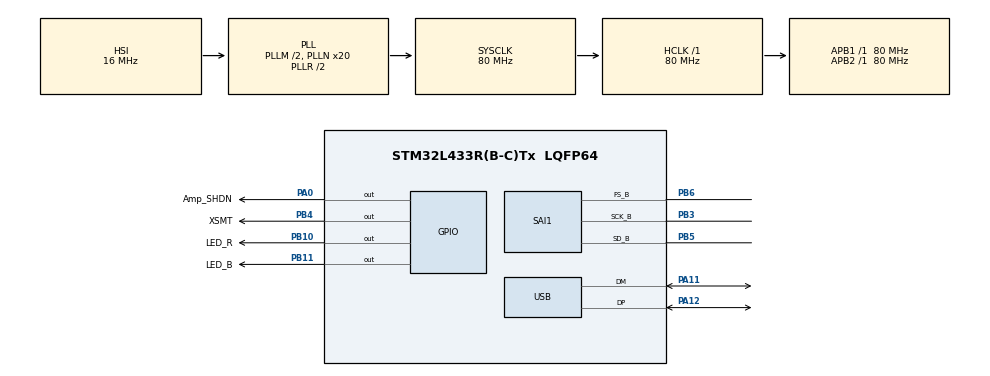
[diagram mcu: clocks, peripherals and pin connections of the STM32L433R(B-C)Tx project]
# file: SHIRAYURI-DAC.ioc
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Dma.Request0=SAI1_B
Dma.SAI1_B.0.Direction=DMA_MEMORY_TO_PERIPH
Dma.SAI1_B.0.Instance=DMA2_Channel2
Dma.SAI1_B.0.MemDataAlignment=DMA_MDATAALIGN_HALFWORD
Dma.SAI1_B.0.MemInc=DMA_MINC_ENABLE
Dma.SAI1_B.0.Mode=DMA_CIRCULAR
Dma.SAI1_B.0.PeriphDataAlignment=DMA_PDATAALIGN_HALFWORD
Dma.SAI1_B.0.PeriphInc=DMA_PINC_DISABLE
Dma.SAI1_B.0.Priority=DMA_PRIORITY_LOW
Mcu.Family=STM32L4
Mcu.Name=STM32L433R(B-C)Tx
Mcu.Package=LQFP64
NVIC.DMA2_Channel2_IRQn=true\:1\:0\:true\:false\:true\:false\:true\:true
NVIC.PriorityGroup=NVIC_PRIORITYGROUP_4
NVIC.USB_IRQn=true\:0\:0\:true\:false\:true\:true\:true\:true
PA0.GPIO_Label=Amp_SHDN
PA0.Signal=GPIO_Output
PA11.Mode=Device
PA11.Signal=USB_DM
PA12.Mode=Device
PA12.Signal=USB_DP
PB10.GPIO_Label=LED_R
PB10.Signal=GPIO_Output
PB11.GPIO_Label=LED_B
PB11.Signal=GPIO_Output
PB3\ (JTDO-TRACESWO).GPIO_Speed=GPIO_SPEED_FREQ_VERY_HIGH
PB3\ (JTDO-TRACESWO).Mode=SAI_B_Master
PB3\ (JTDO-TRACESWO).Signal=SAI1_SCK_B
PB4\ (NJTRST).GPIO_Label=XSMT
PB4\ (NJTRST).Signal=GPIO_Output
PB5.GPIO_Speed=GPIO_SPEED_FREQ_VERY_HIGH
PB5.Mode=SAI_B_Master
PB5.Signal=SAI1_SD_B
PB6.GPIO_FM6=SYSCFG_FASTMODEPLUS_PB6
PB6.GPIO_Speed=GPIO_SPEED_FREQ_VERY_HIGH
PB6.Mode=SAI_B_Master
PB6.Signal=SAI1_FS_B
ProjectManager.HeapSize=0x800
ProjectManager.StackSize=0x800
ProjectManager.TargetToolchain=STM32CubeIDE
RCC.ADCFreq_Value=172000000
RCC.AHBFreq_Value=80000000
RCC.APB1Freq_Value=80000000
RCC.APB1TimFreq_Value=80000000
RCC.APB2Freq_Value=80000000
RCC.APB2TimFreq_Value=80000000
RCC.CK48CLockSelection=RCC_USBCLKSOURCE_HSI48
RCC.CortexFreq_Value=80000000
RCC.HCLKFreq_Value=80000000
RCC.HSE_VALUE=8000000
RCC.HSI48_VALUE=48000000
RCC.HSI_VALUE=16000000
RCC.LSE_VALUE=32768
RCC.MSI_VALUE=4000000
RCC.PLLM=2
RCC.PLLN=20
RCC.PLLSAI1N=43
RCC.PLLSourceVirtual=RCC_PLLSOURCE_HSI
RCC.SYSCLKFreq_VALUE=80000000
RCC.SYSCLKSource=RCC_SYSCLKSOURCE_PLLCLK
RCC.USBFreq_Value=48000000
RCC.VCOOutputFreq_Value=160000000
SAI1.ActiveFrameLength-SAI_B_Master=32
SAI1.AudioFrequency-SAI_B_Master=SAI_AUDIO_FREQUENCY_48K
SAI1.DataSize-SAI_B_Master=SAI_DATASIZE_16
SAI1.ErrorAudioFreq-SAI_B_Master=-0.01 %
SAI1.FIFOThreshold-SAI_B_Master=SAI_FIFOTHRESHOLD_HF
SAI1.FSDefinition-SAI_B_Master=SAI_FS_CHANNEL_IDENTIFICATION
SAI1.FSOffset-SAI_B_Master=SAI_FS_BEFOREFIRSTBIT
SAI1.FirstBitOffset-SAI_B_Master=0
SAI1.FrameLength-SAI_B_Master=64
SAI1.Instance-SAI_B_Master=SAI$Index_Block_B
SAI1.MClockEnable-SAI_B_Master=SAI_MASTERCLOCK_DISABLE
SAI1.OutputDrive-SAI_B_Master=SAI_OUTPUTDRIVE_ENABLE
SAI1.RealAudioFreq-SAI_B_Master=47.991 KHz
SAI1.SlotActive-SAI_B_Master=0x00000003
SAI1.SlotNumber-SAI_B_Master=2
SAI1.SlotSize-SAI_B_Master=SAI_SLOTSIZE_32B
SAI1.VirtualMode-SAI_B_Master=VM_MASTER
SAI1.VirtualSlotActive-SAI_B_Master=SAI_SLOT_USERSETTING
SAI1.VirtualSlotActive0-SAI_B_Master=true
SAI1.VirtualSlotActive1-SAI_B_Master=true
USB.Sof_enable=ENABLE
USB_DEVICE.CLASS_NAME_FS=AUDIO
USB_DEVICE.PID_AUDIO_FS=22320
USB_DEVICE.PRODUCT_STRING_AUDIO_FS=SHIRAYURI-DAC
USB_DEVICE.USBD_AUDIO_FREQ=48000
USB_DEVICE.USBD_LPM_ENABLED=0
USB_DEVICE.USBD_SELF_POWERED=0
USB_DEVICE.VirtualMode=Audio
USB_DEVICE.VirtualModeFS=Audio_FS
VP_RCC_USB.Mode=CRS SYNC Source USB
VP_USB_DEVICE_VS_USB_DEVICE_AUDIO_FS.Mode=AUDIO_FS
board=custom

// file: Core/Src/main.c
/* USER CODE BEGIN Header */
/**
  ******************************************************************************
  * @file           : main.c
  * @brief          : Main program body
  ******************************************************************************
  * @attention
  *
  * Copyright (c) 2026 STMicroelectronics.
  * All rights reserved.
  *
  * This software is licensed under terms that can be found in the LICENSE file
  * in the root directory of this software component.
  * If no LICENSE file comes with this software, it is provided AS-IS.
  *
  ******************************************************************************
  */
/* USER CODE END Header */
#include "main.h"
#include "usb_device.h"

/* USER CODE BEGIN Includes */
#include <math.h>
#include <string.h>
#include <arm_math.h>
#include <usbd_audio_if.h>
/* USER CODE END Includes */

SAI_HandleTypeDef hsai_BlockB1;
DMA_HandleTypeDef hdma_sai1_b;

/* USER CODE BEGIN PV */

int32_t audio_buf[AUDIO_SAMPLES];	//DMAに書き込むよう
int16_t ringbuf[RING_SAMPLES];	//リングバッファ
volatile uint32_t write_pos = 0;
volatile uint32_t read_pos = 0;
volatile uint8_t audio_started = 0;
volatile uint32_t audio_underrun_count = 0;
volatile uint32_t audio_overrun_count = 0;
uint8_t is_playing = 0;
uint32_t silence_cnt = 0;

/* USER CODE END PV */

void SystemClock_Config(void);
static void MX_GPIO_Init(void);
static void MX_DMA_Init(void);
static void MX_SAI1_Init(void);

/* USER CODE BEGIN 0 */

#define AUDIO_FADE_STEP_Q15  64U
#define AUDIO_RAMP_DOWN_STEP_Q15 (32768U / (AUDIO_SAMPLES / 4U))

static uint16_t audio_gain_q15 = 0U;
static int32_t last_sample_l = 0;
static int32_t last_sample_r = 0;
static uint32_t preroll_samples = AUDIO_PREROLL_SAMPLES;

void AudioPipeline_Reset(void)
{
  audio_gain_q15 = 0U;
  last_sample_l = 0;
  last_sample_r = 0;
  preroll_samples = AUDIO_PREROLL_SAMPLES;
  audio_started = 0U;
  audio_underrun_count = 0U;
  audio_overrun_count = 0U;
}

uint32_t Audio_GetSaiDmaWordPosition(void)
{
  uint32_t remaining = __HAL_DMA_GET_COUNTER(&hdma_sai1_b);

  if (remaining > AUDIO_SAMPLES)
  {
    return 0U;
  }

  /* AUDIO_SAMPLES is a power of two.  Returning a modulo position lets the
     USB SOF handler measure the SAI rate without relying on HSI tolerance. */
  return (AUDIO_SAMPLES - remaining) & (AUDIO_SAMPLES - 1U);
}

static int32_t ScaleSampleQ15(int32_t sample, uint32_t gain_q15)
{
  return (int32_t)(((int64_t)sample * (int64_t)gain_q15) >> 15);
}

static void FillRampToSilence(int32_t *dst, uint32_t samples)
{
  uint32_t frames = samples / 2U;
  uint32_t gain_q15 = 32767U;

  for (uint32_t i = 0U; i < frames; i++)
  {
    dst[i * 2U] = ScaleSampleQ15(last_sample_l, gain_q15);
    dst[i * 2U + 1U] = ScaleSampleQ15(last_sample_r, gain_q15);
    gain_q15 = (gain_q15 > AUDIO_RAMP_DOWN_STEP_Q15) ?
               (gain_q15 - AUDIO_RAMP_DOWN_STEP_Q15) : 0U;
  }

  last_sample_l = 0;
  last_sample_r = 0;
  audio_gain_q15 = 0U;
  audio_started = 0U;
  preroll_samples = AUDIO_RECOVERY_SAMPLES;
}

void FillFromRing(int32_t *dst, uint32_t samples)
{
  const uint32_t req_48k_samples = samples / 2U;
  const uint32_t wp = write_pos;
  uint32_t rp = read_pos;
  const uint32_t stored = wp - rp;

  /* A corrupted/overrun state is recovered without reading overwritten data. */
  if (stored > RING_SAMPLES)
  {
    read_pos = wp;
    FillRampToSilence(dst, samples);
    return;
  }

  /* Do not start from an almost-empty buffer.  The pre-roll absorbs Android
     scheduler jitter and the USB/SAI clock-domain phase difference. */
  if ((audio_started == 0U) && (stored < preroll_samples))
  {
    memset(dst, 0, samples * sizeof(int32_t));
    return;
  }

  if (stored >= req_48k_samples)
  {
    int16_t temp_48k[AUDIO_SAMPLES / 2U];
    const uint8_t starting = (audio_started == 0U);

    for (uint32_t i = 0U; i < req_48k_samples; i++)
    {
      temp_48k[i] = ringbuf[rp & (RING_SAMPLES - 1U)];
      rp++;
    }

    /* Publish the consumer position only after the complete stereo block has
       been copied.  This prevents USB from overwriting a half-read frame. */
    __DMB();
    read_pos = rp;

    DSP_Process_Upsample(temp_48k, dst);

    if (starting != 0U)
    {
      audio_started = 1U;
      audio_gain_q15 = 0U;
      preroll_samples = AUDIO_PREROLL_SAMPLES;
      if (usb_audio_muted == 0U)
      {
        HAL_GPIO_WritePin(XSMT_GPIO_Port, XSMT_Pin, GPIO_PIN_SET);
      }
    }

    /* Short de-zipper fade after start/recovery. */
    if (audio_gain_q15 < 32767U)
    {
      for (uint32_t i = 0U; i < samples; i += 2U)
      {
        uint32_t next_gain = audio_gain_q15 + AUDIO_FADE_STEP_Q15;
        audio_gain_q15 = (uint16_t)((next_gain > 32767U) ? 32767U : next_gain);
        dst[i] = ScaleSampleQ15(dst[i], audio_gain_q15);
        dst[i + 1U] = ScaleSampleQ15(dst[i + 1U], audio_gain_q15);
      }
    }

    last_sample_l = dst[samples - 2U];
    last_sample_r = dst[samples - 1U];
  }
  else
  {
    /* A hard transition to zero is audible as a click.  Conceal an underrun
       with a one-DMA-half ramp, then wait for a fresh pre-roll. */
    audio_underrun_count++;
    FillRampToSilence(dst, samples);
  }
}

void HAL_SAI_TxHalfCpltCallback(SAI_HandleTypeDef *hsai)
{
  UNUSED(hsai);
  FillFromRing(&audio_buf[0], AUDIO_SAMPLES / 2U);
}

void HAL_SAI_TxCpltCallback(SAI_HandleTypeDef *hsai)
{
  UNUSED(hsai);
  FillFromRing(&audio_buf[AUDIO_SAMPLES / 2U], AUDIO_SAMPLES / 2U);
}
/* USER CODE END 0 */

int main(void)
{

  /* MCU Configuration--------------------------------------------------------*/

  /* Reset of all peripherals, Initializes the Flash interface and the Systick. */
  HAL_Init();

  /* Configure the system clock */
  SystemClock_Config();

  /* Initialize all configured peripherals */
  MX_GPIO_Init();
  MX_DMA_Init();
  MX_SAI1_Init();
  /* USER CODE BEGIN 2 */
  extern arm_fir_interpolate_instance_f32 S_Left;
  extern arm_fir_interpolate_instance_f32 S_Right;
  extern const float32_t fir_coeffs[];
  extern float32_t fir_state_L[];
  extern float32_t fir_state_R[];

  arm_fir_interpolate_init_f32(&S_Left, 2, 64, (float32_t*)fir_coeffs, fir_state_L, 64);
  arm_fir_interpolate_init_f32(&S_Right, 2, 64, (float32_t*)fir_coeffs, fir_state_R, 64);

  //バッファをクリア
  memset(audio_buf, 0, sizeof(audio_buf));
  memset(ringbuf, 0, sizeof(ringbuf));

  //DMAスタート
  if (HAL_SAI_Transmit_DMA(&hsai_BlockB1, (uint8_t*)audio_buf,
                           AUDIO_SAMPLES) != HAL_OK)
  {
    Error_Handler();
  }

  /* Keep the analog path muted until USB has provided a complete pre-roll.
     FillFromRing() enables it immediately before the click-free fade-in. */
  HAL_GPIO_WritePin(XSMT_GPIO_Port, XSMT_Pin, GPIO_PIN_RESET);
  HAL_GPIO_WritePin(Amp_SHDN_GPIO_Port, Amp_SHDN_Pin, GPIO_PIN_RESET);

  /* Expose USB only after SAI, DMA, FIR state and buffers are ready. */
  MX_USB_DEVICE_Init();
  /* USER CODE END 2 */

  /* Infinite loop */
  while (1)
  {

    /* USER CODE BEGIN 3 */
    __WFI();
  }
  /* USER CODE END 3 */
}

void SystemClock_Config(void)
{
  RCC_OscInitTypeDef RCC_OscInitStruct = {0};
  RCC_ClkInitTypeDef RCC_ClkInitStruct = {0};
  RCC_CRSInitTypeDef RCC_CRSInitStruct = {0};

  /** Configure the main internal regulator output voltage
  */
  if (HAL_PWREx_ControlVoltageScaling(PWR_REGULATOR_VOLTAGE_SCALE1) != HAL_OK)
  {
    Error_Handler();
  }

  /** Initializes the RCC Oscillators according to the specified parameters
  * in the RCC_OscInitTypeDef structure.
  */
  RCC_OscInitStruct.OscillatorType = RCC_OSCILLATORTYPE_HSI48|RCC_OSCILLATORTYPE_HSI;
  RCC_OscInitStruct.HSIState = RCC_HSI_ON;
  RCC_OscInitStruct.HSI48State = RCC_HSI48_ON;
  RCC_OscInitStruct.HSICalibrationValue = RCC_HSICALIBRATION_DEFAULT;
  RCC_OscInitStruct.PLL.PLLState = RCC_PLL_ON;
  RCC_OscInitStruct.PLL.PLLSource = RCC_PLLSOURCE_HSI;
  RCC_OscInitStruct.PLL.PLLM = 2;
  RCC_OscInitStruct.PLL.PLLN = 20;
  RCC_OscInitStruct.PLL.PLLP = RCC_PLLP_DIV7;
  RCC_OscInitStruct.PLL.PLLQ = RCC_PLLQ_DIV2;
  RCC_OscInitStruct.PLL.PLLR = RCC_PLLR_DIV2;
  if (HAL_RCC_OscConfig(&RCC_OscInitStruct) != HAL_OK)
  {
    Error_Handler();
  }

  /** Initializes the CPU, AHB and APB buses clocks
  */
  RCC_ClkInitStruct.ClockType = RCC_CLOCKTYPE_HCLK|RCC_CLOCKTYPE_SYSCLK
                              |RCC_CLOCKTYPE_PCLK1|RCC_CLOCKTYPE_PCLK2;
  RCC_ClkInitStruct.SYSCLKSource = RCC_SYSCLKSOURCE_PLLCLK;
  RCC_ClkInitStruct.AHBCLKDivider = RCC_SYSCLK_DIV1;
  RCC_ClkInitStruct.APB1CLKDivider = RCC_HCLK_DIV1;
  RCC_ClkInitStruct.APB2CLKDivider = RCC_HCLK_DIV1;

  if (HAL_RCC_ClockConfig(&RCC_ClkInitStruct, FLASH_LATENCY_4) != HAL_OK)
  {
    Error_Handler();
  }

  /** Enable the SYSCFG APB clock
  */
  __HAL_RCC_CRS_CLK_ENABLE();

  /** Configures CRS
  */
  RCC_CRSInitStruct.Prescaler = RCC_CRS_SYNC_DIV1;
  RCC_CRSInitStruct.Source = RCC_CRS_SYNC_SOURCE_USB;
  RCC_CRSInitStruct.Polarity = RCC_CRS_SYNC_POLARITY_RISING;
  RCC_CRSInitStruct.ReloadValue = __HAL_RCC_CRS_RELOADVALUE_CALCULATE(48000000,1000);
  RCC_CRSInitStruct.ErrorLimitValue = 34;
  RCC_CRSInitStruct.HSI48CalibrationValue = 32;

  HAL_RCCEx_CRSConfig(&RCC_CRSInitStruct);
}

static void MX_SAI1_Init(void)
{

  hsai_BlockB1.Instance = SAI1_Block_B;
  hsai_BlockB1.Init.Protocol = SAI_FREE_PROTOCOL;
  hsai_BlockB1.Init.AudioMode = SAI_MODEMASTER_TX;
  hsai_BlockB1.Init.DataSize = SAI_DATASIZE_32;
  hsai_BlockB1.Init.FirstBit = SAI_FIRSTBIT_MSB;
  hsai_BlockB1.Init.ClockStrobing = SAI_CLOCKSTROBING_FALLINGEDGE;
  hsai_BlockB1.Init.Synchro = SAI_ASYNCHRONOUS;
  hsai_BlockB1.Init.OutputDrive = SAI_OUTPUTDRIVE_ENABLE;
  hsai_BlockB1.Init.NoDivider = SAI_MASTERDIVIDER_ENABLE;
  hsai_BlockB1.Init.FIFOThreshold = SAI_FIFOTHRESHOLD_HF;
  hsai_BlockB1.Init.AudioFrequency = SAI_AUDIO_FREQUENCY_96K;
  hsai_BlockB1.Init.SynchroExt = SAI_SYNCEXT_DISABLE;
  hsai_BlockB1.Init.MonoStereoMode = SAI_STEREOMODE;
  hsai_BlockB1.Init.CompandingMode = SAI_NOCOMPANDING;
  hsai_BlockB1.Init.TriState = SAI_OUTPUT_NOTRELEASED;
  hsai_BlockB1.FrameInit.FrameLength = 64;
  hsai_BlockB1.FrameInit.ActiveFrameLength = 32;
  hsai_BlockB1.FrameInit.FSDefinition = SAI_FS_CHANNEL_IDENTIFICATION;
  hsai_BlockB1.FrameInit.FSPolarity = SAI_FS_ACTIVE_LOW;
  hsai_BlockB1.FrameInit.FSOffset = SAI_FS_BEFOREFIRSTBIT;
  hsai_BlockB1.SlotInit.FirstBitOffset = 0;
  hsai_BlockB1.SlotInit.SlotSize = SAI_SLOTSIZE_32B;
  hsai_BlockB1.SlotInit.SlotNumber = 2;
  hsai_BlockB1.SlotInit.SlotActive = 0x00000003;
  if (HAL_SAI_Init(&hsai_BlockB1) != HAL_OK)
  {
    Error_Handler();
  }

}

static void MX_DMA_Init(void)
{

  /* DMA controller clock enable */
  __HAL_RCC_DMA2_CLK_ENABLE();

  /* DMA interrupt init */
  /* DMA2_Channel2_IRQn interrupt configuration */
  /* Keep USB and SAI DMA at the same highest preemption level.  This prevents
     PLAY/STOP from preempting a FIR update while still servicing both without
     lower-priority application interrupt latency. */
  HAL_NVIC_SetPriority(DMA2_Channel2_IRQn, 0, 0);
  HAL_NVIC_EnableIRQ(DMA2_Channel2_IRQn);

}

static void MX_GPIO_Init(void)
{
  GPIO_InitTypeDef GPIO_InitStruct = {0};

  /* GPIO Ports Clock Enable */
  __HAL_RCC_GPIOA_CLK_ENABLE();
  __HAL_RCC_GPIOB_CLK_ENABLE();

  /*Configure GPIO pin Output Level */
  HAL_GPIO_WritePin(Amp_SHDN_GPIO_Port, Amp_SHDN_Pin, GPIO_PIN_RESET);

  /*Configure GPIO pin Output Level */
  HAL_GPIO_WritePin(GPIOB, LED_R_Pin|LED_B_Pin|XSMT_Pin, GPIO_PIN_RESET);

  /*Configure GPIO pin : Amp_SHDN_Pin */
  GPIO_InitStruct.Pin = Amp_SHDN_Pin;
  GPIO_InitStruct.Mode = GPIO_MODE_OUTPUT_PP;
  GPIO_InitStruct.Pull = GPIO_NOPULL;
  GPIO_InitStruct.Speed = GPIO_SPEED_FREQ_LOW;
  HAL_GPIO_Init(Amp_SHDN_GPIO_Port, &GPIO_InitStruct);

  /*Configure GPIO pins : LED_R_Pin LED_B_Pin XSMT_Pin */
  GPIO_InitStruct.Pin = LED_R_Pin|LED_B_Pin|XSMT_Pin;
  GPIO_InitStruct.Mode = GPIO_MODE_OUTPUT_PP;
  GPIO_InitStruct.Pull = GPIO_NOPULL;
  GPIO_InitStruct.Speed = GPIO_SPEED_FREQ_LOW;
  HAL_GPIO_Init(GPIOB, &GPIO_InitStruct);

}

void Error_Handler(void)
{
  __disable_irq();
  while (1)
  {
  }
}
